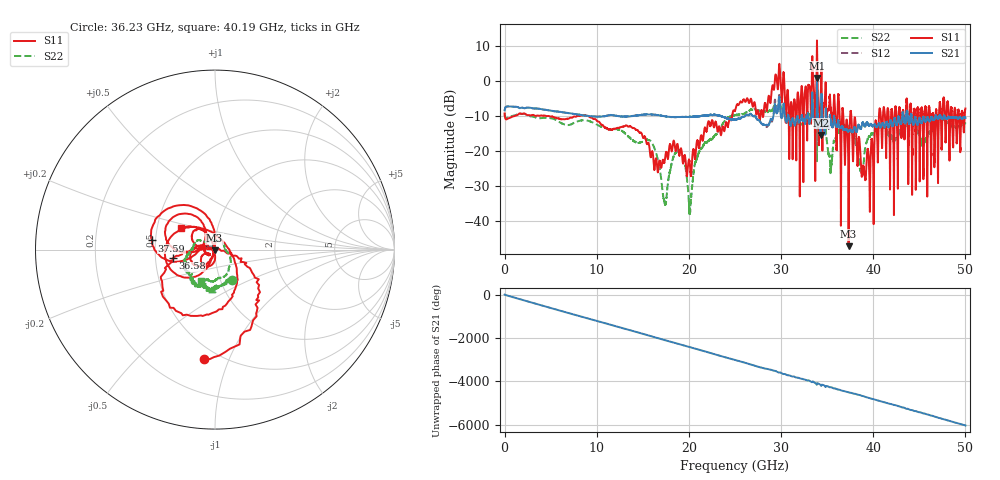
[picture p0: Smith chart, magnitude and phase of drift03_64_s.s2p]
!Created with skrf (http://scikit-rf.org).
# Hz S RI R 50.0
!freq ReS11 ImS11 ReS21 ImS21 ReS12 ImS12 ReS22 ImS22
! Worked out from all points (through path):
!   10001 points, 300 kHz to 50 GHz, reference 50 ohm
!   highest |S21| = 0.79 dB at 33.9 GHz (marker M1); lowest = -15.5 dB at 34.32 GHz (marker M2)
!   group delay of S21, straight-line fit = 335 ps
!   lowest |S11| = -47.1 dB at 37.33 GHz (marker M3), VSWR 1.01, Z = 49.7 - j0.359 ohm
!   |S11| at or under -10 dB: 4.466 GHz to 8.197 GHz (3.731 GHz wide, 58.9 % of centre); 9.007 GHz to 24.7 GHz (15.69 GHz wide, 93.1 % of centre); 37.62 GHz to 40.62 GHz (2.999 GHz wide, 7.67 % of centre) (the widest 3 of 57)
!   |S22| runs from -38.0 to -5.9 dB; largest |S21 - S12| = 0.11
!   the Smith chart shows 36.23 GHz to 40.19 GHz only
!   S11 on the Smith chart (normalised r, x): 36.23 GHz: 0.42, -0.81; 36.58 GHz: 0.62, -0.06; 37.59 GHz: 0.48, +0.06; 40.19 GHz: 0.67, +0.17
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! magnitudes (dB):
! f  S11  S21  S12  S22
! 300 kHz  -9.3  -8.5  -8.5  -9.3
! 8.335 GHz  -9.9  -9.8  -9.8  -11.3
! 16.67 GHz  -25.6  -9.8  -9.8  -23.2
! 17.4 GHz  -22.5  -10.1  -10.1  -35.2
! 19.09 GHz  -19.5  -10.3  -10.3  -20.1
! 20.13 GHz  -24.4  -10.3  -10.3  -36.5
! 21.18 GHz  -17.9  -10.1  -10.1  -19.8
! 25 GHz  -8.6  -11.1  -11.1  -9.8
! 29.66 GHz  -2.3  -8.3  -8.4  -7.1
! 31.08 GHz  -6.1  -12.7  -12.7  -10.5
! 33.34 GHz  0.6  -7.4  -7.5  -9.4
! 33.9 GHz  11.5  0.8  0.4  -23.2
! 34.32 GHz  -2.9  -15.5  -14.9  -11.2
! 35.33 GHz  -5.6  -10.4  -9.8  -25.0
! 36.23 GHz  -4.2  -11.7  -11.6  -14.3
! 36.58 GHz  -12.4  -13.2  -13.2  -13.3
! 37.33 GHz  -47.1  -14.4  -14.5  -13.7
! 37.59 GHz  -9.0  -14.0  -13.9  -13.6
! 38.71 GHz  -25.7  -13.4  -13.2  -25.6
! 40.19 GHz  -13.0  -12.5  -12.5  -14.3
! 41.67 GHz  -9.6  -13.3  -13.2  -15.3
! 50 GHz  -7.9  -10.6  -10.6  -12.1
